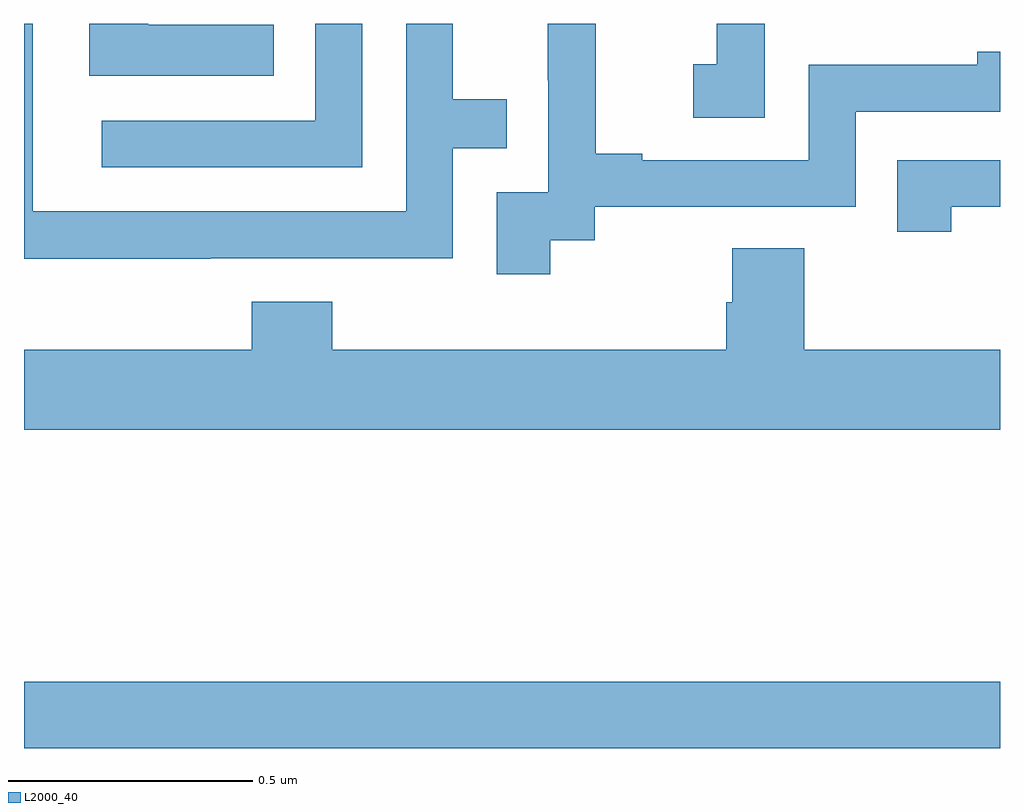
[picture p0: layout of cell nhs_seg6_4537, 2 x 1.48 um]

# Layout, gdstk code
import gdstk
lib = gdstk.Library(unit=1e-6, precision=1e-09)
def R(c, l, rs):  # rectangles x0, y0, x1, y1
    for r in rs: c.add(gdstk.rectangle(r[:2], r[2:], *l))
def P(c, l, *ps):  # polygons
    for p in ps: c.add(gdstk.Polygon(p, *l))
L2000_40 = (2000, 40)

nhs_seg6_4537 = lib.new_cell('nhs_seg6_4537')
R(nhs_seg6_4537, L2000_40, [(171,948.016,173,948.152)])
P(nhs_seg6_4537, L2000_40, [(172.078,949.057),(172.17,949.057),(172.17,949.125),(172.704,949.125),(172.704,949.32),(173,949.32),(173,949.443),(172.953,949.443),(172.953,949.416),(172.608,949.416),(172.608,949.221),(172.267,949.221),(172.267,949.234),(172.172,949.234),(172.172,949.5),(172.073,949.5),(172.073,949.385),(172.074,949.385),(172.074,949.155),(171.969,949.155),(171.969,948.987),(172.078,948.987)],
  [(171.693,949.5),(171.597,949.5),(171.597,949.302),(171.159,949.302),(171.159,949.206),(171.693,949.206)],
  [(171.383,949.02),(171.879,949.02),(171.879,949.245),(171.989,949.245),(171.989,949.346),(171.879,949.346),(171.879,949.5),(171.783,949.5),(171.783,949.116),(171.018,949.116),(171.018,949.5),(171,949.5),(171,949.019),(171.383,949.019)],
  [(171.512,949.498),(171.255,949.498),(171.255,949.5),(171.134,949.5),(171.134,949.394),(171.512,949.394)],
  [(172.518,949.5),(172.42,949.5),(172.42,949.417),(172.371,949.417),(172.371,949.308),(172.518,949.308)],
  [(172.9,949.125),(173,949.125),(173,949.221),(172.789,949.221),(172.789,949.074),(172.9,949.074)],
  [(173,948.832),(172.599,948.832),(172.599,949.04),(172.451,949.04),(172.451,948.93),(172.439,948.93),(172.439,948.832),(171.632,948.832),(171.632,948.931),(171.467,948.931),(171.467,948.832),(171,948.832),(171,948.668),(173,948.668)])

lib.write_gds('nhs_seg6_4537.gds')
